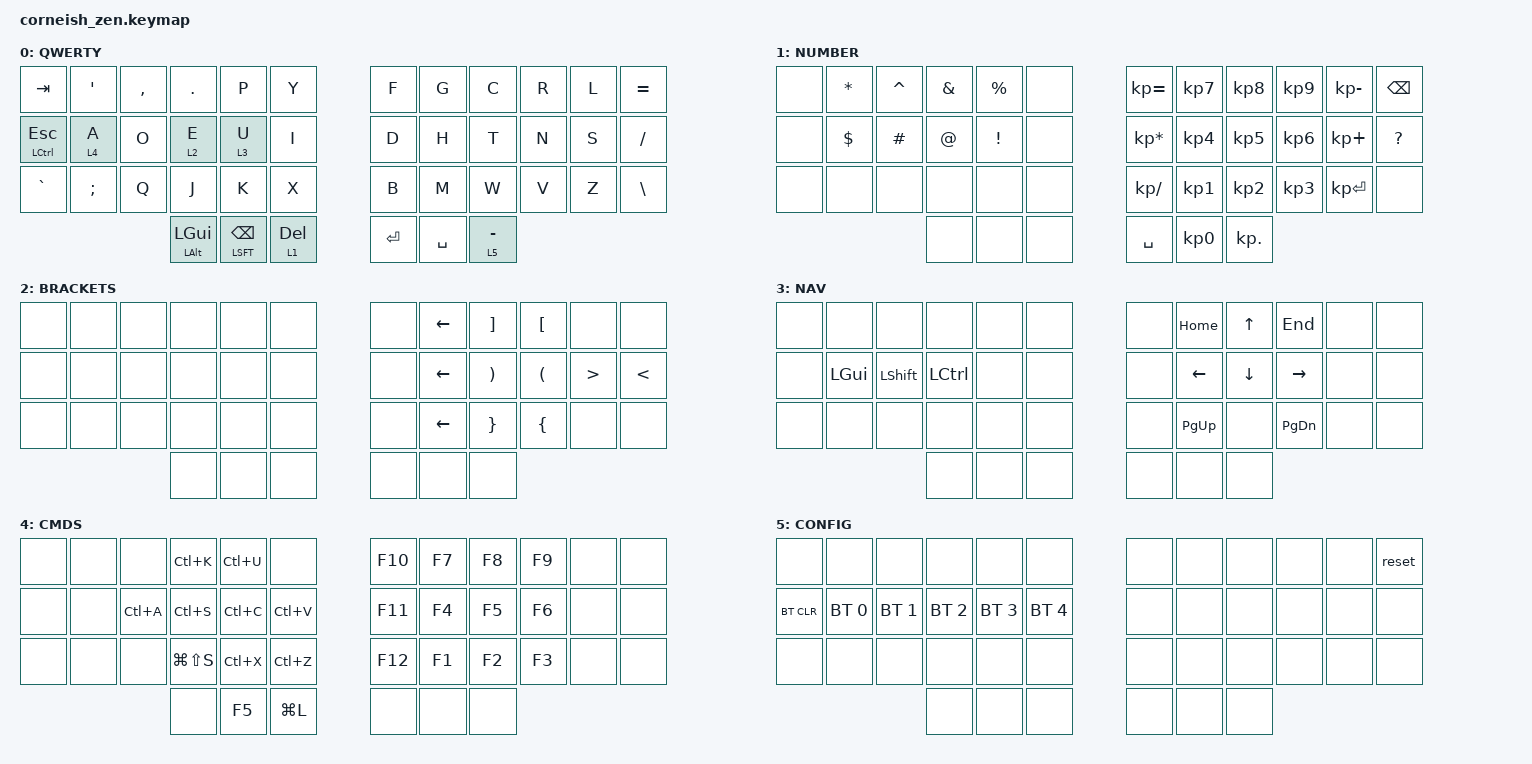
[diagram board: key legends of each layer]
#include <behaviors.dtsi>
#include <dt-bindings/zmk/keys.h>
#include <dt-bindings/zmk/bt.h>

/ {
  chosen {
    zmk,matrix_transform = &default_transform;
    //zmk,matrix_transform = &five_column_transform;
  };
};

/ {
        keymap {
                compatible = "zmk,keymap";

                default_layer {
                        label = "QWERTY";
// -----------------------------------------------------------------------------------------
// |  TAB |  Q  |  W  |  E  |  R  |  T  |   |  Y  |  U   |  I  |  O  |  P  | BKSP |
// | CTRL |  A  |  S  |  D  |  F  |  G  |   |  H  |  J   |  K  |  L  |  ;  |  '   |
// | SHFT |  Z  |  X  |  C  |  V  |  B  |   |  N  |  M   |  ,  |  .  |  /  | ESC  |
//                    | GUI | LWR | SPC |   | ENT | RSE  | ALT |
                        bindings = <
   &kp TAB       &kp APOS &kp CMMA &kp DOT &kp P   &kp Y   &kp F &kp G  &kp C &kp R &kp L &kp EQUAL
   &mt LCTRL ESC &lt 4 A  &kp O    &lt 2 E &lt 3 U &kp I   &kp D &kp H  &kp T &kp N &kp S &kp SLASH
   &kp GRAVE     &kp SEMI &kp Q    &kp J   &kp K   &kp X   &kp B &kp M  &kp W &kp V &kp Z &kp BSLH
                  &mt LALT LGUI &mt LSFT BKSP &lt 1 DEL  &kp RET &kp SPC &lt 5 MINUS
                        >;
                };
                lower_layer {
                        label = "NUMBER";
                        bindings = <
   &none &kp STAR    &kp CARET &kp AMPS &kp PERCENT &none &kp KP_EQUAL    &kp KP_N7 &kp KP_N8 &kp KP_N9 &kp KP_MINUS &kp BSPC
   &none &kp DOLLAR  &kp HASH  &kp AT   &kp EXCL    &none &kp KP_ASTERISK &kp KP_N4 &kp KP_N5 &kp KP_N6 &kp KP_PLUS  &kp QUESTION
   &none &none &none &none &none &none                    &kp KP_SLASH    &kp KP_N1 &kp KP_N2 &kp KP_N3 &kp KP_ENTER &none
                     &none &none &none  &kp SPC         &kp KP_N0 &kp KP_DOT
                        >;
                };
                brackets_layer {
                        label = "BRACKETS";
                        bindings = <
   &none &none &none &none &none &none          &none &kp LEFT &kp RBKT &kp LBKT &none &none 
   &none &none &none &none &none &none          &none &kp LEFT &kp RPAR &kp LPAR &kp GT &kp LT
   &none &none &none &none &none &none          &none &kp LEFT &kp RBRC &kp LBRC &none &none
                        &none &none &none    &none &none &none
                        >;
                };
                nav_layer {
                        label = "NAV";
                        bindings = <
   &none &none    &none     &none     &none &none                  &none &kp HOME  &kp UP   &kp END   &none &none 
   &none &kp LGUI &kp LSHFT &kp LCTRL &none &none                  &none &kp LEFT  &kp DOWN &kp RIGHT &none &none
   &none &none    &none     &none     &none &none                  &none &kp PG_UP &none    &kp PG_DN &none &none
                        &none &none &none    &none &none &none
                        >;
                };
                cmd_layer {
                        label = "CMDS";
                        bindings = <
   &none &none &none     &kp LC(K)     &kp LC(U) &none              &kp F10 &kp F7 &kp F8 &kp F9 &none &none 
   &none &none &kp LC(A) &kp LC(S)     &kp LC(C) &kp LC(V)          &kp F11 &kp F4 &kp F5 &kp F6 &none &none
   &none &none &none     &kp LG(LS(S)) &kp LC(X) &kp LC(Z)          &kp F12 &kp F1 &kp F2 &kp F3 &none &none
                        &none &kp F5 &kp LG(L)    &none &none &none
                        >;
                };
                raise_layer {
                        label = "CONFIG";
                        bindings = <
   &none      &none        &none        &none        &none        &none           &none &none &none &none &none &reset 
   &bt BT_CLR &bt BT_SEL 0 &bt BT_SEL 1 &bt BT_SEL 2 &bt BT_SEL 3 &bt BT_SEL 4    &none &none &none &none &none &none
   &none      &none        &none        &none        &none        &none           &none &none &none &none &none &none
                                                &none &none &none    &none &none &none
                        >;
                };
        };
};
